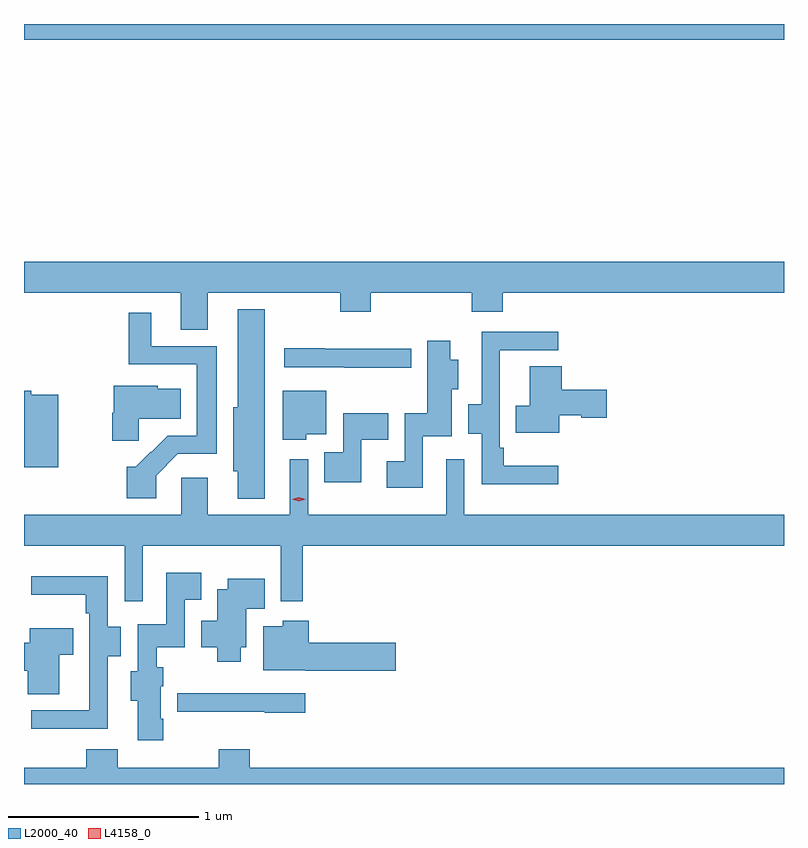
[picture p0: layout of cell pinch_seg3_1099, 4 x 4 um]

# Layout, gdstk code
import gdstk
lib = gdstk.Library(unit=1e-6, precision=1e-09)
def R(c, l, rs):  # rectangles x0, y0, x1, y1
    for r in rs: c.add(gdstk.rectangle(r[:2], r[2:], *l))
def P(c, l, *ps):  # polygons
    for p in ps: c.add(gdstk.Polygon(p, *l))
L2000_40 = (2000, 40)
L4158_0 = (4158, 0)

pinch_seg3_1099 = lib.new_cell('pinch_seg3_1099')
R(pinch_seg3_1099, L2000_40, [(349.813,739.544,353.813,739.627)])
P(pinch_seg3_1099, L2000_40, [(350.779,738.212),(351.478,738.212),(351.478,738.113),(351.638,738.113),(351.638,738.212),(352.169,738.212),(352.169,738.113),(352.334,738.113),(352.334,738.212),(353.813,738.212),(353.813,738.376),(349.813,738.376),(349.813,738.212),(350.639,738.212),(350.639,738.018),(350.779,738.018)],
  [(351.079,738.127),(350.939,738.127),(350.939,737.61),(350.915,737.61),(350.915,737.274),(350.939,737.274),(350.939,737.129),(351.079,737.129)],
  [(350.508,737.25),(350.622,737.364),(350.827,737.364),(350.827,737.931),(350.482,737.931),(350.482,738.106),(350.365,738.106),(350.365,737.835),(350.723,737.835),(350.723,737.461),(350.569,737.461),(350.483,737.374),(350.481,737.376),(350.401,737.296),(350.353,737.296),(350.353,737.13),(350.508,737.13)],
  [(352.624,737.302),(352.337,737.302),(352.337,737.398),(352.317,737.398),(352.317,737.713),(352.318,737.713),(352.318,737.91),(352.624,737.91),(352.624,738.006),(352.221,738.006),(352.221,737.625),(352.151,737.625),(352.151,737.47),(352.221,737.47),(352.221,737.204),(352.624,737.204)],
  [(351.912,737.456),(352.063,737.456),(352.063,737.704),(352.099,737.704),(352.099,737.859),(352.057,737.859),(352.057,737.959),(351.935,737.959),(351.935,737.578),(351.816,737.578),(351.816,737.326),(351.723,737.326),(351.723,737.186),(351.912,737.186)],
  [(351.85,737.918),(351.395,737.918),(351.395,737.921),(351.183,737.921),(351.183,737.82),(351.499,737.82),(351.499,737.818),(351.85,737.818)],
  [(352.63,737.567),(352.746,737.567),(352.746,737.555),(352.879,737.555),(352.879,737.702),(352.643,737.702),(352.643,737.825),(352.475,737.825),(352.475,737.617),(352.402,737.617),(352.402,737.477),(352.63,737.477)],
  [(350.417,737.549),(350.638,737.549),(350.638,737.707),(350.517,737.707),(350.517,737.722),(350.285,737.722),(350.285,737.58),(350.278,737.58),(350.278,737.433),(350.417,737.433)],
  [(351.298,737.468),(351.403,737.468),(351.403,737.698),(351.176,737.698),(351.176,737.438),(351.298,737.438)],
  [(349.992,737.676),(349.85,737.676),(349.85,737.696),(349.813,737.696),(349.813,737.56),(349.814,737.56),(349.814,737.295),(349.992,737.295)],
  [(351.589,737.438),(351.731,737.438),(351.731,737.578),(351.492,737.578),(351.492,737.374),(351.394,737.374),(351.394,737.216),(351.589,737.216)],
  [(350.439,736.88),(351.165,736.88),(351.165,736.59),(351.281,736.59),(351.281,736.88),(353.813,736.88),(353.813,737.044),(352.131,737.044),(352.131,737.335),(352.035,737.335),(352.035,737.044),(351.309,737.044),(351.309,737.335),(351.212,737.335),(351.212,737.044),(350.779,737.044),(350.779,737.239),(350.64,737.239),(350.64,737.044),(349.813,737.044),(349.813,736.88),(350.343,736.88),(350.343,736.59),(350.439,736.59)],
  [(350.545,735.97),(350.533,735.97),(350.533,736.142),(350.546,736.142),(350.546,736.242),(350.511,736.242),(350.511,736.346),(350.658,736.346),(350.658,736.598),(350.746,736.598),(350.746,736.738),(350.562,736.738),(350.562,736.468),(350.412,736.468),(350.412,736.221),(350.375,736.221),(350.375,736.066),(350.411,736.066),(350.411,735.858),(350.545,735.858)],
  [(350.253,736.3),(350.323,736.3),(350.323,736.455),(350.253,736.455),(350.253,736.72),(349.851,736.72),(349.851,736.622),(350.137,736.622),(350.137,736.526),(350.157,736.526),(350.157,736.211),(350.156,736.211),(350.156,736.014),(349.851,736.014),(349.851,735.918),(350.253,735.918)],
  [(350.953,736.346),(350.983,736.346),(350.983,736.55),(351.08,736.55),(351.08,736.708),(350.885,736.708),(350.885,736.651),(350.831,736.651),(350.831,736.486),(350.747,736.486),(350.747,736.346),(350.831,736.346),(350.831,736.271),(350.953,736.271)],
  [(351.769,736.37),(351.311,736.37),(351.311,736.486),(351.176,736.486),(351.176,736.456),(351.071,736.456),(351.071,736.226),(351.294,736.226),(351.294,736.223),(351.769,736.223)],
  [(349.999,736.307),(350.072,736.307),(350.072,736.447),(349.844,736.447),(349.844,736.37),(349.813,736.37),(349.813,736.223),(349.832,736.223),(349.832,736.099),(349.999,736.099)],
  [(351.292,736.104),(350.949,736.104),(350.949,736.105),(350.619,736.105),(350.619,736.007),(351.079,736.007),(351.079,736.003),(351.292,736.003)],
  [(350.141,735.712),(349.813,735.712),(349.813,735.627),(353.813,735.627),(353.813,735.712),(351.002,735.712),(351.002,735.811),(350.837,735.811),(350.837,735.712),(350.306,735.712),(350.306,735.811),(350.141,735.811)])
P(pinch_seg3_1099, L4158_0, [(351.26,737.115),(351.225,737.125),(351.225,737.125),(351.225,737.125),(351.26,737.135),(351.296,737.125),(351.296,737.125),(351.296,737.125)])

lib.write_gds('pinch_seg3_1099.gds')
